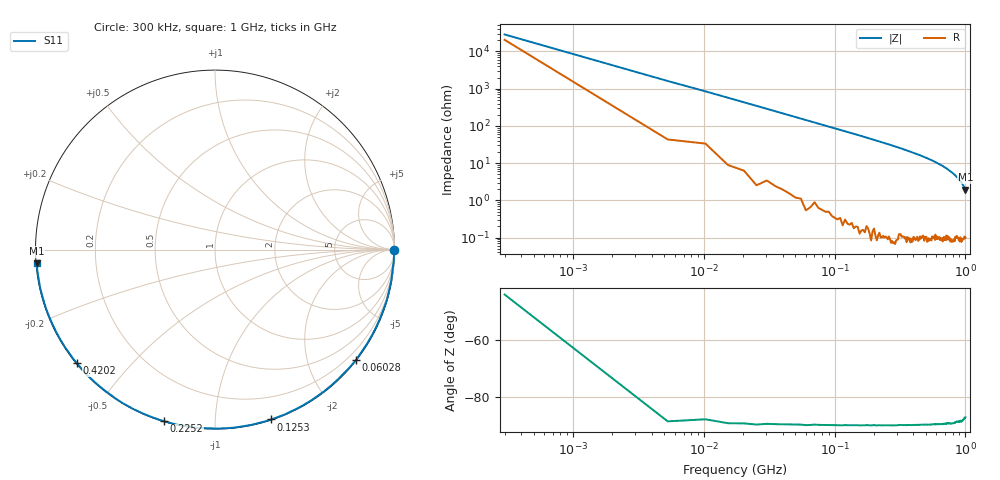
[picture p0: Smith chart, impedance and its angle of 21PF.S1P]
!Agilent Technologies,E5071C,MY46520295,B.13.20
!Date: Fri Feb 09 08:22:53 2024
!Data & Calibration Information:
!Freq	S11:SOLT2(ON)
!PortZ  Port1:50+j0
!Above PortZ is port z conversion or system Z0 setting when saving the data.
!When reading, reference impedance value at option line is always used.
# Hz S RI R 50
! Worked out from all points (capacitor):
!   201 points, 300 kHz to 1 GHz, reference 50 ohm
!   read as one part to ground: C = 18.2 pF near 5.298 MHz
!   lowest |Z| = 1.94 ohm at 1 GHz (marker M1)
!   S11 on the Smith chart (normalised r, x): 300 kHz: open; 60.28 MHz: 0.01, -2.90; 125.3 MHz: 0.00, -1.38; 225.2 MHz: 0.00, -0.75; 420.2 MHz: 0.00, -0.36; 1 GHz: 0.00, -0.04
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300000  0.9975 -0.00242
1.52955e7  0.9823 -0.1724
2.52925e7  0.9572 -0.2821
4.0288e7  0.8958 -0.4357
6.0282e7  0.7858 -0.6148
8.0276e7  0.6484 -0.7563
9.52715e7  0.538 -0.8388
1.152655e8  0.3873 -0.9191
1.252625e8  0.3135 -0.9462
1.452565e8  0.1709 -0.9819
1.552535e8  0.1024 -0.9924
1.70249e8  0.00571 -0.9972
1.90243e8  -0.1095 -0.9921
2.0024e8  -0.1633 -0.9824
2.252325e8  -0.2832 -0.9564
2.50225e8  -0.3841 -0.9203
2.80216e8  -0.4872 -0.8709
3.052085e8  -0.5583 -0.8263
3.40198e8  -0.6404 -0.7635
3.751875e8  -0.7051 -0.7044
4.20174e8  -0.7702 -0.6328
4.60162e8  -0.8161 -0.5718
5.0015e8  -0.8514 -0.5171
5.50135e8  -0.8872 -0.4544
6.251125e8  -0.925 -0.3697
7.50075e8  -0.9635 -0.2525
8.750375e8  -0.9835 -0.157
1e9  -0.993 -0.0772
